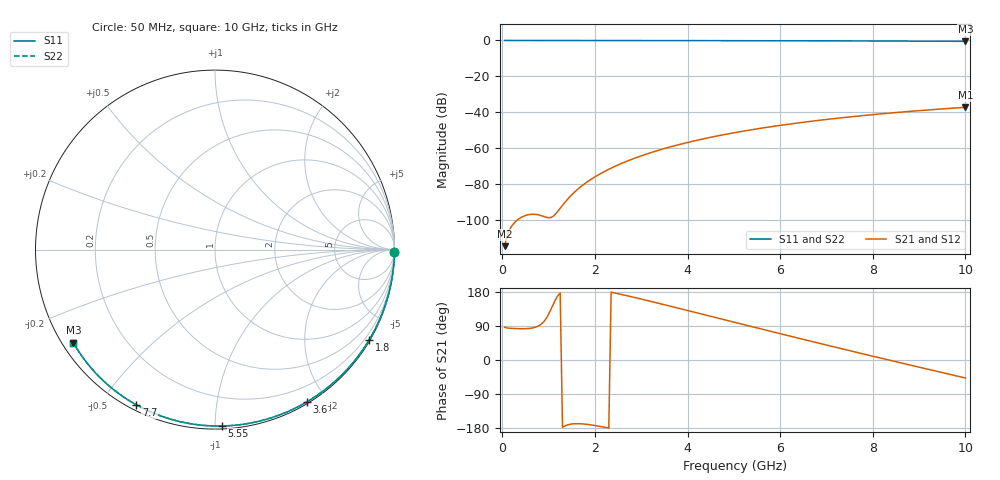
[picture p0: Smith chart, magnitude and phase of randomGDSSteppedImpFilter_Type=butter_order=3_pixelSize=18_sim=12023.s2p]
! freq	dB(S11)	phase(S11)	dB(S12)	phase(S12)
!  dB(S21)	phase(S21)	dB(S22)	phase(S22)
!S-par simulation data
#  GHz  S  DB  R 50
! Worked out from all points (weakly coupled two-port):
!   200 points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, 50 MHz to 10 GHz, reference 50 ohm
!   highest |S21| = -37.28 dB at 10 GHz (marker M1); lowest = -114.7 dB at 50 MHz (marker M2)
!   lowest |S11| = -0.5 dB at 10 GHz (marker M3), VSWR 35.13, Z = 1.55 - j15 ohm
!   |S11| at or under -10 dB: nowhere
!   |S22| runs from -0.5 to 0.0 dB; largest |S21 - S12| = 0
!   S11 on the Smith chart (normalised r, x): 50 MHz: open; 1.8 GHz: 0.03, -3.70; 3.6 GHz: 0.02, -1.77; 5.55 GHz: 0.02, -1.04; 7.7 GHz: 0.02, -0.61; 10 GHz: 0.03, -0.30
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0.05  -0.00 -0.9  -114.72 86.6  -114.72 86.6  -0.00 -0.9
0.45  -0.01 -7.7  -98.12 82.5  -98.12 82.5  -0.01 -7.7
0.9  -0.02 -15.3  -98.20 101.6  -98.20 101.6  -0.02 -15.3
1.3  -0.03 -21.9  -91.91 -177.8  -91.91 -177.8  -0.03 -21.9
1.75  -0.04 -29.4  -80.44 -168.8  -80.44 -168.8  -0.04 -29.4
1.8  -0.04 -30.2  -79.48 -169.4  -79.48 -169.4  -0.04 -30.2
1.95  -0.04 -32.7  -76.87 -171.8  -76.87 -171.8  -0.04 -32.7
2.1  -0.04 -35.1  -74.56 -174.9  -74.56 -174.9  -0.04 -35.1
2.3  -0.05 -38.4  -71.83 -179.7  -71.83 -179.7  -0.05 -38.4
2.5  -0.05 -41.6  -69.40 175.0  -69.40 175.0  -0.05 -41.6
2.9  -0.06 -48.0  -65.26 163.7  -65.26 163.7  -0.06 -48.0
3.4  -0.07 -55.8  -61.03 148.9  -61.03 148.9  -0.07 -55.8
3.6  -0.08 -58.9  -59.55 142.8  -59.55 142.8  -0.08 -58.9
4.3  -0.10 -69.5  -55.10 121.4  -55.10 121.4  -0.10 -69.5
5.05  -0.12 -80.5  -51.26 98.4  -51.26 98.4  -0.12 -80.5
5.55  -0.14 -87.7  -49.09 83.1  -49.09 83.1  -0.14 -87.7
6.1  -0.17 -95.4  -46.99 66.5  -46.99 66.5  -0.17 -95.4
6.7  -0.20 -103.6  -44.97 48.4  -44.97 48.4  -0.20 -103.6
7.7  -0.27 -116.9  -42.12 18.8  -42.12 18.8  -0.27 -116.9
8.35  -0.32 -125.4  -40.54 -0.2  -40.54 -0.2  -0.32 -125.4
9.2  -0.40 -136.3  -38.74 -24.7  -38.74 -24.7  -0.40 -136.4
10  -0.49 -146.7  -37.28 -47.5  -37.28 -47.5  -0.49 -146.7
